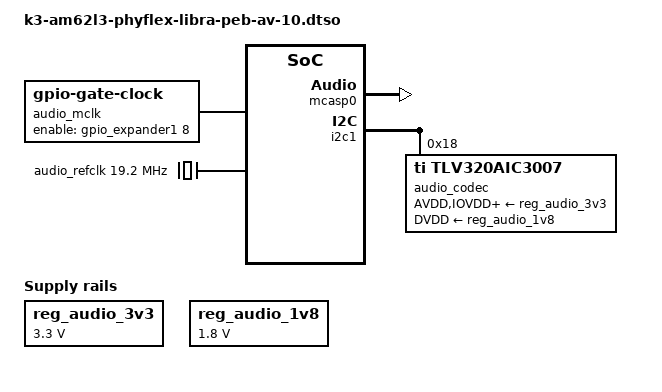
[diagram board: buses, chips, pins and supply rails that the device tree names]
// SPDX-License-Identifier: GPL-2.0-only OR MIT
/*
 * Copyright (C) 2026 PHYTEC Messtechnik GmbH
 * Author: Dominik Haller <d.haller@phytec.de>
 *
 * Audio only since there is no LVDS2 available with the phyFLEX-AM62L
 */

/dts-v1/;
/plugin/;

#include <dt-bindings/gpio/gpio.h>
#include "k3-pinctrl.h"

&{/} {
	audio_mclk: audio-clock-gate {
		compatible = "gpio-gate-clock";
		clocks = <&audio_refclk>;
		#clock-cells = <0>;
		enable-gpios = <&gpio_expander1 8 GPIO_ACTIVE_HIGH>;
	};

	audio_refclk: audio-clock {
		compatible = "fixed-clock";
		#clock-cells = <0>;
		clock-frequency = <19200000>;
	};

	reg_audio_3v3: regulator-audio-3v3 {
		compatible = "regulator-fixed";
		regulator-name = "VCC3V3_AUDIO";
		regulator-min-microvolt = <3300000>;
		regulator-max-microvolt = <3300000>;
		regulator-always-on;
	};

	reg_audio_1v8: regulator-audio-1v8 {
		compatible = "regulator-fixed";
		regulator-name = "VCC1V8_AUDIO";
		regulator-min-microvolt = <1800000>;
		regulator-max-microvolt = <1800000>;
		regulator-always-on;
	};

	sound {
		compatible = "simple-audio-card";
		simple-audio-card,name = "PEB-AV-10";
		simple-audio-card,widgets =
			"Headphone", "Headphone Jack",
			"Microphone", "Mic Jack";
		simple-audio-card,routing =
			"Headphone Jack", "HPLOUT",
			"Headphone Jack", "HPROUT",
			"MIC3R", "Mic Jack",
			"Mic Jack", "Mic Bias";
		simple-audio-card,format = "dsp_b";
		simple-audio-card,bitclock-inversion;
		simple-audio-card,bitclock-master = <&link0_codec>;
		simple-audio-card,frame-master = <&link0_codec>;

		link0_cpu: simple-audio-card,cpu {
			sound-dai = <&mcasp0>;
		};

		link0_codec: simple-audio-card,codec {
			sound-dai = <&audio_codec>;
			clocks = <&audio_mclk>;
		};
	};
};

&pmx0 {
	mcasp0_pins_default: mcasp0-default-pins {
		pinctrl-single,pins = <
			AM62LX_IOPAD(0x0190, PIN_INPUT, 0) /* (A11) MCASP0_ACLKX */
			AM62LX_IOPAD(0x0194, PIN_INPUT, 0) /* (B11) MCASP0_AFSX */
			AM62LX_IOPAD(0x018c, PIN_OUTPUT, 0) /* (B9) MCASP0_AXR0 */
			AM62LX_IOPAD(0x0188, PIN_INPUT, 0) /* (A9) MCASP0_AXR1 */
		>;
	};
};

&mcasp0 {
	pinctrl-names = "default";
	pinctrl-0 = <&mcasp0_pins_default>;
	#sound-dai-cells = <0>;
	op-mode = <0>;	/* MCASP_IIS_MODE */
	tdm-slots = <2>;

	serial-dir = <  /* 0: INACTIVE, 1: TX, 2: RX */
		1 2 0 0
		0 0 0 0
		0 0 0 0
		0 0 0 0
	>;

	tx-num-evt = <32>;
	rx-num-evt = <32>;
	status = "okay";
};

&i2c1 {
	#address-cells = <1>;
	#size-cells = <0>;

	audio_codec: audio-codec@18 {
		compatible = "ti,tlv320aic3007";
		reg = <0x18>;
		#sound-dai-cells = <0>;
		ai3x-micbias-vg = <2>;
		AVDD-supply = <&reg_audio_3v3>;
		IOVDD-supply = <&reg_audio_3v3>;
		DRVDD-supply = <&reg_audio_3v3>;
		DVDD-supply = <&reg_audio_1v8>;
	};
};
